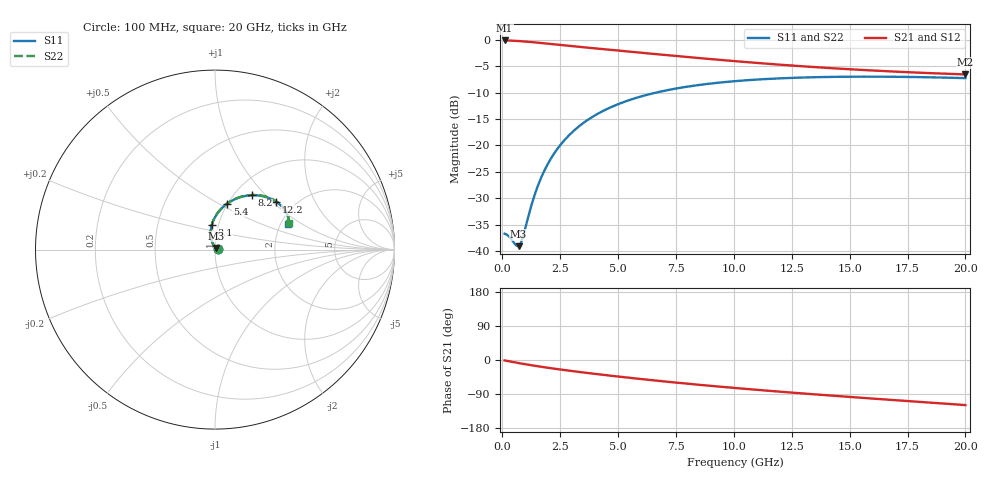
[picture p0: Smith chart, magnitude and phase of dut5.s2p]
! Touchstone file exported from HFSS 2024.1.0
!  File:  C:/UserFiles/LocalFiles/RDL_TSV_Batchsim/temp_RDL_TSV_5_1779396232.aedt
!  Generated:  04:58:13 AM May 22, 2026
!  Design:  RDL_TSV
!  Project:  temp_RDL_TSV_5_1779396232
!  Setup:  Setup1
!  Solution:  Sweep
! Variables:
!  dtsv = 12.37um
!  hbump = 3um
!  htsv = 52.35um
!  ldown = 173.91um
!  lrdl = 250.75um
!  p = 40
!  p1 = 54.32um
!  rhole = 10um
!  subl = 1524.73um
!  t = 450um
!  tdown = 4.2um
!  trdl = 2.62um
!  viad = 10um
!  wdown = 17.11um
!  wrdl = 11.39um
!  xbump = 18um
# GHz S MA R 50.000000
! Terminal data exported
! Port[1] = TM1_1_T1
! Port[2] = TM1_4_T1
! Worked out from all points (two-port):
!   200 points, 100 MHz to 20 GHz, reference 50 ohm
!   highest |S21| = -0.13 dB at 100 MHz (marker M1); lowest = -6.6 dB at 20 GHz (marker M2)
!   |S21| within 3 dB of the highest: start of sweep to 7.652 GHz
!   lowest |S11| = -39.1 dB at 700 MHz (marker M3), VSWR 1.02, Z = 50.7 + j0.898 ohm
!   |S11| at or under -10 dB: start of sweep to 6.647 GHz
!   |S22| runs from -39.1 to -6.9 dB; largest |S21 - S12| = 1.5e-13
!   S11 on the Smith chart (normalised r, x): 100 MHz: 1.03, +0.00; 3.1 GHz: 0.93, +0.26; 5.4 GHz: 1.00, +0.55; 8.2 GHz: 1.20, +0.84; 12.2 GHz: 1.61, +1.06; 20 GHz: 2.19, +0.78
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0.1  0.01458 4.0  0.985 -1.2  0.985 -1.2  0.01458 4.0
! Gamma 0 0 0 0
! Port Impedance 50 0 50 0
0.3  0.01367 12.9  0.9826 -3.5  0.9826 -3.5  0.01366 12.9
0.6  0.01127 38.5  0.9756 -6.9  0.9756 -6.9  0.01126 38.6
0.7  0.0111 52.9  0.9725 -8.0  0.9725 -8.0  0.0111 53.1
0.8  0.01187 68.6  0.9691 -9.1  0.9691 -9.1  0.01187 68.8
0.9  0.01372 82.4  0.9655 -10.2  0.9655 -10.2  0.01374 82.6
1.2  0.02439 104.6  0.9533 -13.3  0.9533 -13.3  0.02447 104.8
1.4  0.03408 109.4  0.9445 -15.2  0.9445 -15.2  0.0342 109.5
1.8  0.0566 110.3  0.9259 -19.0  0.9259 -19.0  0.0568 110.4
2.1  0.07501 108.2  0.9118 -21.7  0.9118 -21.7  0.07526 108.3
2.4  0.09398 105.3  0.8978 -24.2  0.8978 -24.2  0.09429 105.4
3.1  0.1383 97.5  0.8665 -29.8  0.8665 -29.8  0.1388 97.6
3.5  0.1629 93.2  0.8496 -32.9  0.8496 -32.9  0.1634 93.2
4.4  0.2144 84.0  0.8133 -39.5  0.8133 -39.5  0.2151 84.1
5.4  0.2645 75.2  0.7753 -46.4  0.7753 -46.4  0.2654 75.3
6.8  0.3218 64.7  0.7255 -55.4  0.7255 -55.4  0.323 64.8
8.2  0.3654 56.0  0.68 -63.7  0.68 -63.7  0.3668 56.1
10.1  0.4064 46.3  0.6258 -74.1  0.6258 -74.1  0.4081 46.5
12.2  0.4331 37.9  0.5763 -84.6  0.5763 -84.6  0.4349 38.0
13.4  0.4416 33.9  0.5526 -90.3  0.5526 -90.3  0.4435 34.0
16.7  0.4466 25.2  0.5025 -104.9  0.5025 -104.9  0.4487 25.4
20  0.4332 19.5  0.4697 -119.0  0.4697 -119.0  0.4355 19.7
